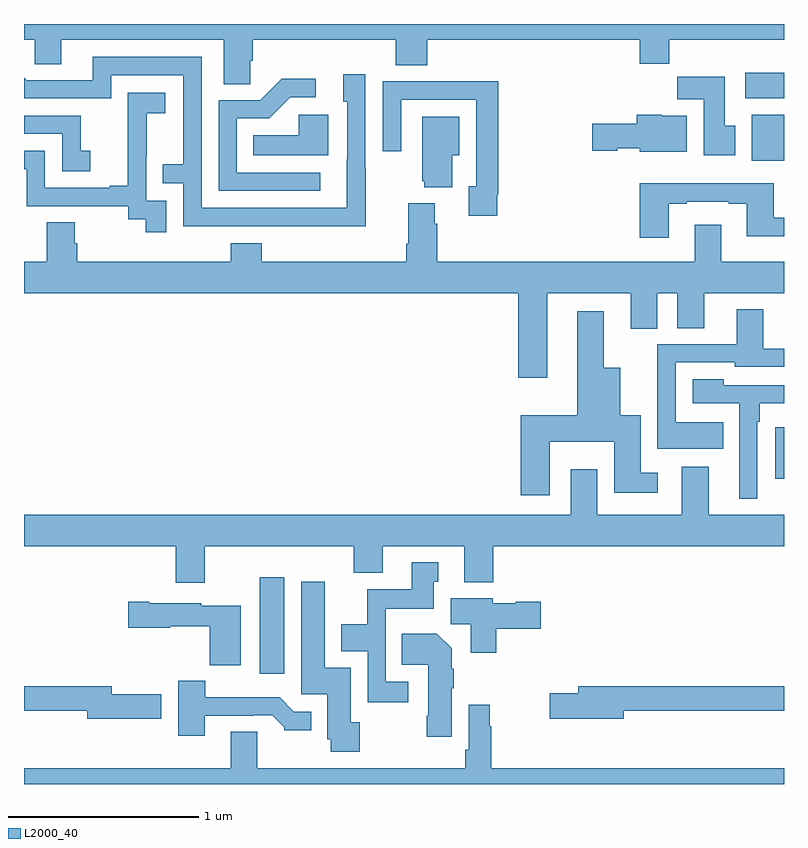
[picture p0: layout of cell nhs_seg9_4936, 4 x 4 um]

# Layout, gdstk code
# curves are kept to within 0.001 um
import gdstk
lib = gdstk.Library(unit=1e-6, precision=1e-09)
def R(c, l, rs):  # rectangles x0, y0, x1, y1
    for r in rs: c.add(gdstk.rectangle(r[:2], r[2:], *l))
def P(c, l, *ps):  # polygons
    for p in ps: c.add(gdstk.Polygon(p, *l))
L2000_40 = (2000, 40)

nhs_seg9_4936 = lib.new_cell('nhs_seg9_4936')
R(nhs_seg9_4936, L2000_40, [(398.24,1197.081,398.371,1197.589), (400.955,1198.106,401,1198.378), (400.829,1199.78,401,1200.022), (400.797,1200.11,401,1200.244)])
P(nhs_seg9_4936, L2000_40, [(397,1200.416),(397.056,1200.416),(397.056,1200.289),(397.195,1200.289),(397.195,1200.416),(398.051,1200.416),(398.051,1200.184),(398.19,1200.184),(398.19,1200.307),(398.204,1200.307),(398.204,1200.416),(398.957,1200.416),(398.957,1200.283),(399.122,1200.283),(399.122,1200.416),(400.241,1200.416),(400.241,1200.292),(400.397,1200.292),(400.397,1200.416),(401,1200.416),(401,1200.5),(397,1200.5)],
  [(398.799,1199.741),(398.796,1199.741),(398.796,1200.235),(398.681,1200.235),(398.681,1200.09),(398.7,1200.09),(398.699,1199.532),(397.935,1199.532),(397.935,1200.327),(397.361,1200.327),(397.361,1200.204),(397.014,1200.204),(397,1200.218),(397,1200.108),(397.458,1200.108),(397.458,1200.231),(397.839,1200.231),(397.839,1199.762),(397.729,1199.762),(397.729,1199.661),(397.839,1199.661),(397.839,1199.436),(398.799,1199.435)],
  [(400.744,1199.964),(400.687,1199.964),(400.687,1200.223),(400.438,1200.223),(400.438,1200.104),(400.577,1200.104),(400.577,1199.808),(400.744,1199.808)],
  [(398.56,1199.718),(398.121,1199.718),(398.121,1200.003),(398.29,1200.003),(398.401,1200.114),(398.536,1200.114),(398.536,1200.212),(398.357,1200.212),(398.244,1200.099),(398.025,1200.099),(398.025,1199.622),(398.56,1199.622)],
  [(399.49,1199.602),(399.497,1199.602),(399.497,1200.2),(399.205,1200.2),(399.205,1200.198),(398.889,1200.198),(398.889,1199.829),(398.985,1199.829),(398.985,1200.102),(399.381,1200.102),(399.381,1199.646),(399.341,1199.646),(399.341,1199.49),(399.49,1199.49)],
  [(397.749,1199.571),(397.644,1199.571),(397.644,1199.801),(397.646,1199.801),(397.646,1200.029),(397.744,1200.029),(397.744,1200.139),(397.546,1200.139),(397.546,1199.933),(397.547,1199.933),(397.547,1199.65),(397.451,1199.65),(397.451,1199.637),(397.11,1199.637),(397.11,1199.832),(397,1199.832),(397,1199.736),(397.014,1199.736),(397.014,1199.541),(397.548,1199.541),(397.548,1199.473),(397.641,1199.473),(397.641,1199.403),(397.749,1199.403)],
  [(400.489,1200.016),(400.356,1200.016),(400.356,1200.022),(400.226,1200.022),(400.226,1199.976),(399.99,1199.976),(399.99,1199.834),(400.122,1199.834),(400.122,1199.846),(400.242,1199.846),(400.242,1199.828),(400.489,1199.828)],
  [(398.602,1200.022),(398.445,1200.022),(398.445,1199.914),(398.206,1199.914),(398.206,1199.81),(398.602,1199.81)],
  [(397.348,1199.833),(397.299,1199.833),(397.299,1200.018),(397,1200.018),(397,1199.922),(397.2,1199.922),(397.2,1199.724),(397.348,1199.724)],
  [(399.253,1199.81),(399.292,1199.81),(399.292,1200.013),(399.095,1200.013),(399.095,1199.673),(399.107,1199.673),(399.107,1199.642),(399.253,1199.642)],
  [(400.393,1199.553),(400.489,1199.553),(400.489,1199.565),(400.709,1199.565),(400.709,1199.553),(400.805,1199.553),(400.805,1199.384),(401,1199.384),(401,1199.481),(400.945,1199.481),(400.945,1199.662),(400.241,1199.662),(400.241,1199.376),(400.393,1199.376)],
  [(399.754,1199.084),(400.193,1199.084),(400.193,1198.896),(400.332,1198.896),(400.332,1199.084),(400.439,1199.084),(400.439,1198.9),(400.579,1198.9),(400.579,1199.084),(401,1199.084),(401,1199.248),(400.669,1199.248),(400.669,1199.443),(400.529,1199.443),(400.529,1199.248),(399.176,1199.248),(399.176,1199.45),(399.163,1199.45),(399.163,1199.557),(399.023,1199.557),(399.023,1199.344),(399.011,1199.344),(399.011,1199.248),(398.252,1199.248),(398.252,1199.347),(398.087,1199.347),(398.087,1199.248),(397.28,1199.248),(397.28,1199.346),(397.267,1199.346),(397.267,1199.456),(397.12,1199.456),(397.12,1199.248),(397,1199.248),(397,1199.084),(399.602,1199.084),(399.602,1198.638),(399.754,1198.638)],
  [(400.679,1198.405),(400.431,1198.405),(400.431,1198.719),(400.74,1198.719),(400.74,1198.695),(401,1198.695),(401,1198.791),(400.891,1198.791),(400.891,1198.999),(400.751,1198.999),(400.751,1198.815),(400.334,1198.815),(400.334,1198.265),(400.679,1198.265)],
  [(399.766,1198.301),(400.106,1198.301),(400.106,1198.034),(400.336,1198.034),(400.336,1198.138),(400.246,1198.138),(400.246,1198.441),(400.138,1198.441),(400.138,1198.69),(400.051,1198.69),(400.051,1198.987),(399.911,1198.987),(399.911,1198.441),(399.614,1198.441),(399.614,1198.02),(399.766,1198.02)],
  [(400.86,1198.406),(400.873,1198.406),(400.873,1198.503),(401,1198.503),(401,1198.599),(400.682,1198.599),(400.682,1198.63),(400.521,1198.63),(400.521,1198.503),(400.764,1198.503),(400.764,1198.002),(400.86,1198.002)],
  [(397.951,1197.752),(398.735,1197.752),(398.735,1197.611),(398.887,1197.611),(398.887,1197.752),(399.317,1197.752),(399.317,1197.563),(399.47,1197.563),(399.47,1197.752),(401,1197.752),(401,1197.916),(400.603,1197.916),(400.603,1198.171),(400.463,1198.171),(400.463,1197.916),(400.018,1197.916),(400.018,1198.156),(399.878,1198.156),(399.878,1197.916),(397,1197.916),(397,1197.752),(397.799,1197.752),(397.799,1197.558),(397.951,1197.558)],
  [(399.022,1197.039),(398.904,1197.039),(398.904,1197.422),(399.157,1197.422),(399.157,1197.564),(399.181,1197.564),(399.181,1197.667),(399.041,1197.667),(399.041,1197.526),(398.806,1197.526),(398.806,1197.34),(398.669,1197.34),(398.669,1197.2),(398.808,1197.2),(398.808,1196.931),(399.022,1196.931)],
  [(398.766,1196.826),(398.719,1196.826),(398.719,1197.112),(398.584,1197.112),(398.584,1197.565),(398.459,1197.565),(398.459,1196.973),(398.597,1196.973),(398.597,1196.736),(398.614,1196.736),(398.614,1196.67),(398.766,1196.67)],
  [(399.485,1197.317),(399.721,1197.317),(399.721,1197.459),(399.588,1197.459),(399.588,1197.451),(399.468,1197.451),(399.468,1197.478),(399.245,1197.478),(399.245,1197.34),(399.35,1197.34),(399.35,1197.192),(399.485,1197.192)],
  [(398.14,1197.439),(397.932,1197.439),(397.932,1197.451),(397.66,1197.451),(397.66,1197.459),(397.548,1197.459),(397.548,1197.322),(397.77,1197.322),(397.77,1197.329),(397.978,1197.329),(397.978,1197.125),(398.14,1197.125)],
  [(399.25,1197.004),(399.263,1197.004),(399.263,1197.107),(399.25,1197.107),(399.25,1197.214),(399.172,1197.292),(398.989,1197.292),(398.989,1197.128),(399.128,1197.128),(399.128,1196.86),(399.121,1196.86),(399.121,1196.748),(399.25,1196.748)],
  [(397.951,1196.859),(398.207,1196.859),(398.207,1196.862),(398.306,1196.862),(398.37,1196.798),(398.37,1196.783),(398.512,1196.783),(398.512,1196.88),(398.421,1196.88),(398.345,1196.956),(397.954,1196.956),(397.954,1197.043),(397.811,1197.043),(397.811,1196.754),(397.951,1196.754)],
  [(397.723,1196.973),(397.462,1196.973),(397.462,1197.014),(397,1197.014),(397,1196.886),(397.334,1196.886),(397.334,1196.843),(397.723,1196.843)],
  [(400.156,1196.886),(401,1196.886),(401,1197.014),(399.917,1197.014),(399.917,1196.978),(399.768,1196.978),(399.768,1196.843),(400.156,1196.843)],
  [(398.227,1196.774),(398.087,1196.774),(398.087,1196.584),(397,1196.584),(397,1196.5),(401,1196.5),(401,1196.584),(399.458,1196.584),(399.458,1196.804),(399.451,1196.804),(399.451,1196.917),(399.342,1196.917),(399.342,1196.68),(399.322,1196.68),(399.322,1196.584),(398.227,1196.584)])

lib.write_gds('nhs_seg9_4936.gds')
